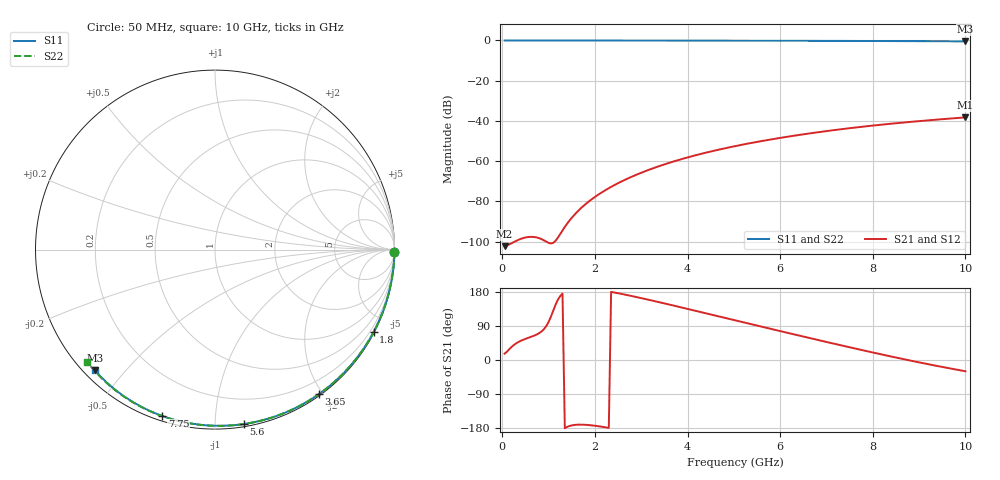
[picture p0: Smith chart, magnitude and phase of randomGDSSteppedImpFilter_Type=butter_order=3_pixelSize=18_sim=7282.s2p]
! freq	dB(S11)	phase(S11)	dB(S12)	phase(S12)
!  dB(S21)	phase(S21)	dB(S22)	phase(S22)
!S-par simulation data
#  GHz  S  DB  R 50
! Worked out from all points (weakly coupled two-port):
!   200 points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, 50 MHz to 10 GHz, reference 50 ohm
!   highest |S21| = -38.22 dB at 10 GHz (marker M1); lowest = -102.2 dB at 50 MHz (marker M2)
!   lowest |S11| = -0.5 dB at 10 GHz (marker M3), VSWR 38.06, Z = 1.54 - j20.8 ohm
!   |S11| at or under -10 dB: nowhere
!   |S22| runs from -0.5 to 0.0 dB; largest |S21 - S12| = 0
!   S11 on the Smith chart (normalised r, x): 50 MHz: open; 1.8 GHz: 0.04, -4.10; 3.65 GHz: 0.02, -1.95; 5.6 GHz: 0.02, -1.18; 7.75 GHz: 0.02, -0.73; 10 GHz: 0.03, -0.42
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0.05  -0.00 -0.8  -102.21 16.8  -102.21 16.8  -0.00 -0.8
0.45  -0.01 -7.0  -98.19 53.4  -98.19 53.4  -0.01 -7.2
0.9  -0.02 -13.8  -99.33 81.5  -99.33 81.5  -0.02 -14.4
1.75  -0.03 -26.7  -82.26 -170.7  -82.26 -170.7  -0.04 -27.7
1.8  -0.03 -27.4  -81.27 -171.0  -81.27 -171.0  -0.04 -28.4
1.85  -0.04 -28.1  -80.34 -171.5  -80.34 -171.5  -0.04 -29.2
1.9  -0.04 -28.9  -79.44 -172.0  -79.44 -172.0  -0.04 -30.0
2.05  -0.04 -31.1  -76.96 -174.3  -76.96 -174.3  -0.04 -32.3
2.25  -0.04 -34.1  -74.05 -178.1  -74.05 -178.1  -0.05 -35.4
2.65  -0.05 -39.9  -69.22 172.6  -69.22 172.6  -0.05 -41.5
3  -0.06 -45.0  -65.73 163.4  -65.73 163.4  -0.06 -46.7
3.4  -0.07 -50.7  -62.34 152.2  -62.34 152.2  -0.07 -52.6
3.65  -0.07 -54.3  -60.47 145.1  -60.47 145.1  -0.08 -56.3
4.3  -0.09 -63.3  -56.30 126.1  -56.30 126.1  -0.09 -65.6
5.05  -0.11 -73.4  -52.40 104.0  -52.40 104.0  -0.12 -76.1
5.6  -0.13 -80.7  -49.98 87.9  -49.98 87.9  -0.14 -83.6
6.15  -0.15 -87.8  -47.86 71.9  -47.86 71.9  -0.16 -90.9
6.7  -0.18 -94.7  -45.97 56.1  -45.97 56.1  -0.19 -98.0
7.75  -0.25 -107.6  -42.92 26.6  -42.92 26.6  -0.26 -111.3
8.35  -0.29 -114.8  -41.46 10.4  -41.46 10.4  -0.30 -118.7
9.15  -0.36 -124.4  -39.78 -10.0  -39.78 -10.0  -0.37 -128.5
10  -0.46 -134.8  -38.22 -29.6  -38.22 -29.6  -0.47 -138.8
